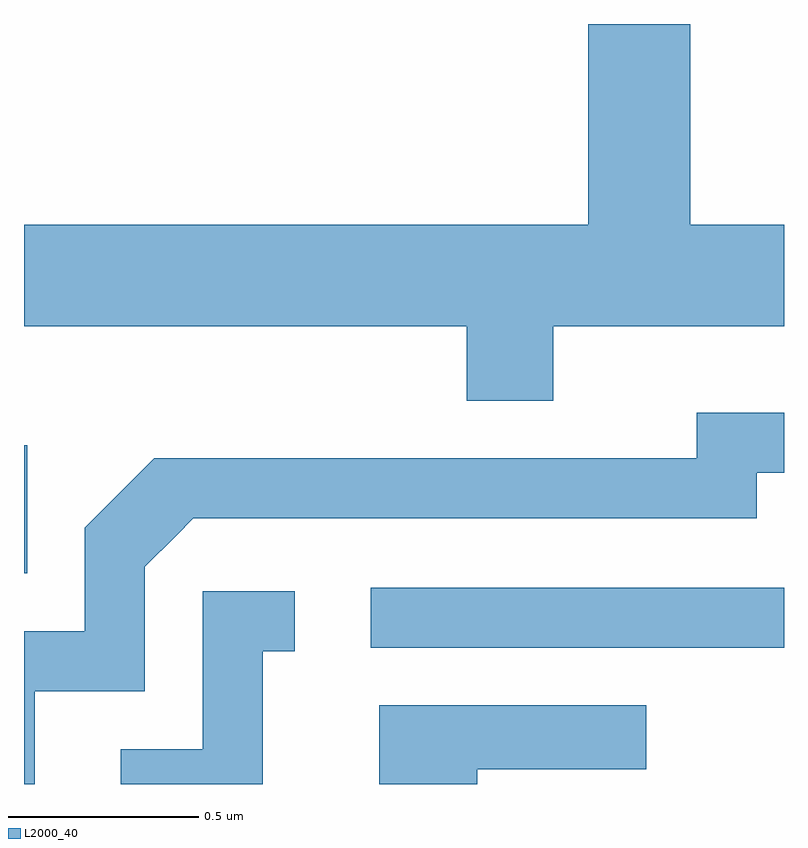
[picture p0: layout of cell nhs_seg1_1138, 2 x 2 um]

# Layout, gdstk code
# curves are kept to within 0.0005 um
import gdstk
lib = gdstk.Library(unit=1e-6, precision=1e-09)
def R(c, l, rs):  # rectangles x0, y0, x1, y1
    for r in rs: c.add(gdstk.rectangle(r[:2], r[2:], *l))
def P(c, l, *ps):  # polygons
    for p in ps: c.add(gdstk.Polygon(p, *l))
L2000_40 = (2000, 40)

nhs_seg1_1138 = lib.new_cell('nhs_seg1_1138')
R(nhs_seg1_1138, L2000_40, [(194.523,892.071,195.611,892.229), (193.611,892.266,193.619,892.603)])
P(nhs_seg1_1138, L2000_40, [(195.004,892.916),(195.611,892.916),(195.611,893.184),(195.364,893.184),(195.364,893.712),(195.096,893.712),(195.096,893.184),(193.611,893.184),(193.611,892.916),(194.776,892.916),(194.776,892.721),(195.004,892.721)],
  [(193.639,891.956),(193.929,891.956),(193.929,892.284),(194.057,892.411),(195.539,892.411),(195.539,892.531),(195.611,892.531),(195.611,892.689),(195.381,892.689),(195.381,892.569),(193.954,892.569),(193.771,892.387),(193.771,892.114),(193.611,892.114),(193.611,891.712),(193.639,891.712)],
  [(194.239,892.061),(194.323,892.061),(194.323,892.219),(194.081,892.219),(194.081,891.804),(193.866,891.804),(193.866,891.712),(194.239,891.712)],
  [(194.804,891.751),(195.248,891.751),(195.248,891.919),(194.546,891.919),(194.546,891.712),(194.804,891.712)])

lib.write_gds('nhs_seg1_1138.gds')
